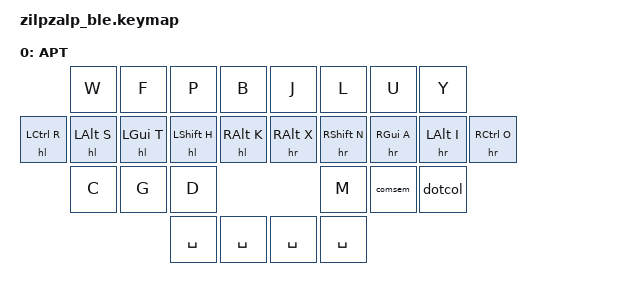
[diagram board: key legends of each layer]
#include <behaviors.dtsi>
#include <dt-bindings/zmk/bt.h>
#include <dt-bindings/zmk/outputs.h>



// zilpzalp key numbers
//     __________________________  __________________________
//    /     0  |  1  |  2  |  3  \/   4 |   5 |   6 |   7    \
// |  8  |  9  | 10  | 11  | 12  /\  13 |  14 |  15 |  16 | 17  |
//    \    18  | 19  | 20    /        \    21 |  22 |  23   /
//          \    24  | 25  /            \  26 |  27    /
//           --------------              --------------

/ {

    keymap {
        compatible = "zmk,keymap";

        aptmak {
            label = "APT";

            bindings = <
                               &kp W          &kp F          &kp P          &kp B          &kp J          &kp L          &kp U          &kp Y
                &hl LCTRL R    &hl LALT S     &hl LGUI T     &hl LSHFT H    &hl RALT K     &hr RALT X     &hr RSHFT N    &hr RGUI A     &hr LALT I     &hr RCTRL O
                               &kp C          &kp G          &kp D                                        &kp M          &comsem        &dotcol
                                                             &kp SPACE      &kp SPACE      &kp SPACE      &kp SPACE
            >;
        };
};

//     __________________________  __________________________
//    /     1  |  2  |  3  |  4  \/   5 |   6 |   7 |   8    \
// | 10  | 11  | 12  | 13  | 14  ||  15 |  16 |  17 |  18 | 19  |
//    \    20  | 21  | 22  |     ||     |  23 |  24 |  25   /
//                \    26  | 27  /\  28 |  29    /
//                 --------------  --------------
